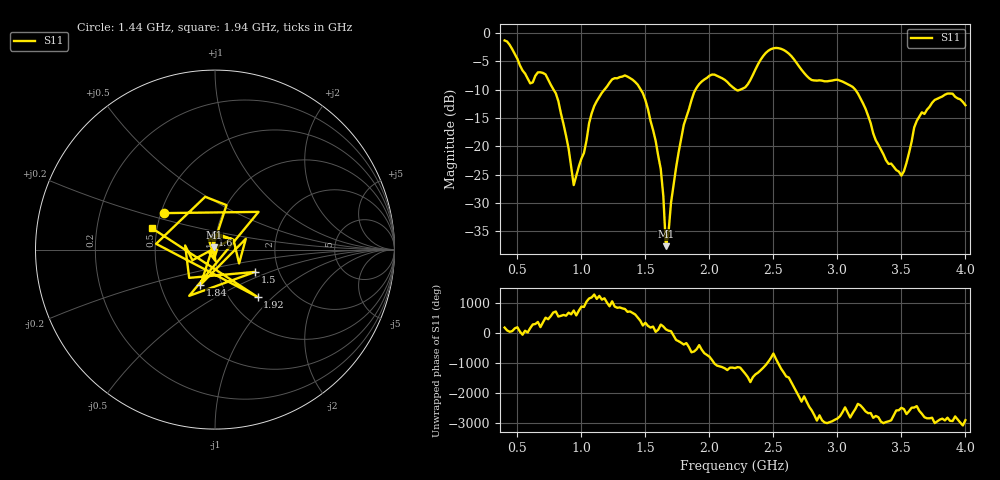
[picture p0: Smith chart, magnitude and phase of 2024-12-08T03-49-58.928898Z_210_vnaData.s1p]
!Created with skrf (http://scikit-rf.org).
# Hz S RI R 50.0
!freq ReS11 ImS11
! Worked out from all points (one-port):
!   181 points, 400 MHz to 4 GHz, reference 50 ohm
!   lowest |S11| = -37.7 dB at 1.66 GHz (marker M1), VSWR 1.03, Z = 49.5 + j1.19 ohm
!   |S11| at or under -10 dB: 782.8 MHz to 1.18 GHz (396.8 MHz wide, 40.4 % of centre); 1.464 GHz to 1.891 GHz (427.8 MHz wide, 25.5 % of centre); 3.14 GHz to end of sweep (the widest 3 of 4)
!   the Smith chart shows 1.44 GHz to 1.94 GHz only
!   S11 on the Smith chart (normalised r, x): 1.44 GHz: 0.52, +0.24; 1.5 GHz: 1.51, -0.40; 1.6 GHz: 0.95, +0.15; 1.84 GHz: 0.79, -0.33; 1.92 GHz: 1.34, -0.81; 1.94 GHz: 0.47, +0.13
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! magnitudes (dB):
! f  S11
! 400 MHz  -1.3
! 600 MHz  -8.9
! 720 MHz  -7.3
! 860 MHz  -16.1
! 940 MHz  -26.9
! 1.1 GHz  -12.9
! 1.3 GHz  -7.8
! 1.44 GHz  -9.1
! 1.5 GHz  -11.8
! 1.6 GHz  -21.7
! 1.64 GHz  -28.8
! 1.66 GHz  -37.7
! 1.76 GHz  -21.0
! 1.84 GHz  -13.5
! 1.92 GHz  -9.0
! 1.94 GHz  -8.5
! 2.04 GHz  -7.3
! 2.2 GHz  -9.9
! 2.48 GHz  -2.8
! 2.66 GHz  -4.6
! 2.8 GHz  -8.3
! 3.1 GHz  -9.2
! 3.4 GHz  -23.1
! 3.5 GHz  -25.2
! 3.56 GHz  -21.1
! 3.62 GHz  -15.5
! 3.76 GHz  -11.8
! 4 GHz  -12.7
